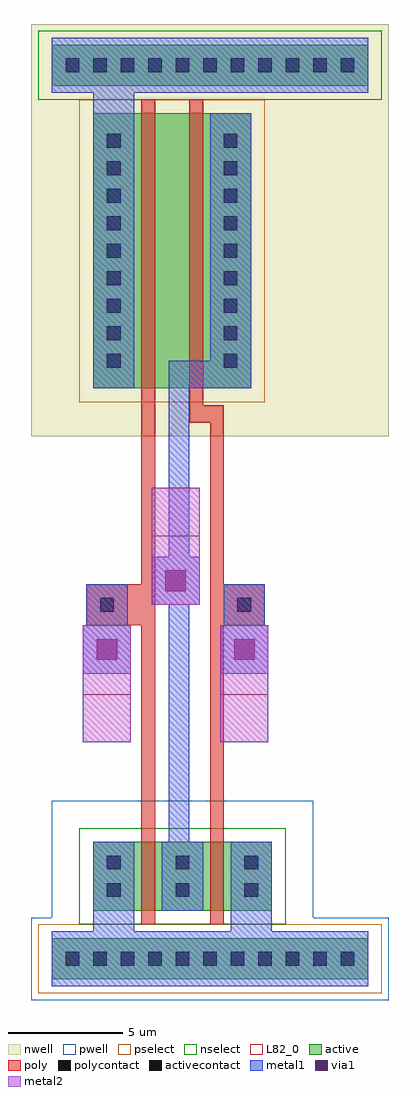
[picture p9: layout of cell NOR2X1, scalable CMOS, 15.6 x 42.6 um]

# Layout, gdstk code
import gdstk
lib = gdstk.Library(unit=1e-6, precision=1e-09)
def R(c, l, rs):  # rectangles x0, y0, x1, y1
    for r in rs: c.add(gdstk.rectangle(r[:2], r[2:], *l))
def A(c, l, x, y, w, h, nx, ny, dx, dy):  # array of equal rectangles
    R(c, l, [(x+i*dx, y+j*dy, x+i*dx+w, y+j*dy+h) for i in range(nx) for j in range(ny)])
pwell = (41, 0)
nwell = (42, 0)
active = (43, 0)
pselect = (44, 0)
nselect = (45, 0)
poly = (46, 0)
polycontact = (47, 0)
activecontact = (48, 0)
metal1 = (49, 0)
via1 = (50, 0)
metal2 = (51, 0)
L82_0 = (82, 0)

nor2x1 = lib.new_cell('NOR2X1')
R(nor2x1, pwell, [(-1.8,-1.8,13.8,1.8), (-0.9,1.8,10.5,6.9)])
R(nor2x1, nwell, [(-1.8,22.8,13.8,40.8)])
R(nor2x1, active, [(-0.9,-0.9,12.9,0.9), (0.9,2.1,8.7,5.1), (0.9,24.9,7.8,36.9), (-0.9,38.1,12.9,39.9)])
R(nor2x1, pselect, [(-1.5,-1.5,13.5,1.5), (0.3,24.3,8.4,37.5)])
R(nor2x1, nselect, [(0.3,1.5,9.3,5.7), (-1.5,37.5,13.5,40.5)])
R(nor2x1, poly, [(3,1.5,3.6,14.55), (6,1.5,6.6,14.55), (0.6,14.55,3.6,16.35), (6,14.55,8.4,16.35), (3,16.35,3.6,37.5), (6,16.35,6.6,23.4), (5.1,23.4,6.6,24.15), (5.1,24.15,5.7,37.5)])
R(nor2x1, polycontact, [(1.2,15.15,1.8,15.75), (7.2,15.15,7.8,15.75)])
A(nor2x1, activecontact, -0.3, -0.3, 0.6, 0.6, 11, 2, 1.2, 39)
A(nor2x1, activecontact, 1.5, 2.7, 0.6, 0.6, 3, 2, 3, 1.2)
A(nor2x1, activecontact, 1.5, 25.8, 0.6, 0.6, 1, 9, 0, 1.2)
A(nor2x1, activecontact, 6.6, 25.8, 0.6, 0.6, 1, 9, 0, 1.2)
R(nor2x1, metal1, [(-0.9,-1.2,12.9,1.2), (0.9,1.2,2.7,5.1), (6.9,1.2,8.7,5.1), (3.9,2.1,5.7,5.1), (4.2,5.1,5.1,15.45), (0.45,12.45,2.55,14.55), (6.45,12.45,8.55,14.55), (0.6,14.55,2.4,16.35), (6.6,14.55,8.4,16.35), (3.45,15.45,5.55,17.55), (4.2,17.55,5.1,24.9), (0.9,24.9,2.7,37.8), (4.2,24.9,7.8,26.1), (6,26.1,7.8,36.9), (-0.9,37.8,12.9,40.2)])
R(nor2x1, via1, [(1.05,13.05,1.95,13.95), (7.05,13.05,7.95,13.95), (4.05,16.05,4.95,16.95)])
R(nor2x1, metal2, [(0.45,9.45,2.55,14.55), (6.45,9.45,8.55,14.55), (3.45,15.45,5.55,20.55)])
R(nor2x1, L82_0, [(0.45,9.45,2.55,11.55), (6.45,9.45,8.55,11.55), (3.45,18.45,5.55,20.55)])

lib.write_gds('NOR2X1.gds')
